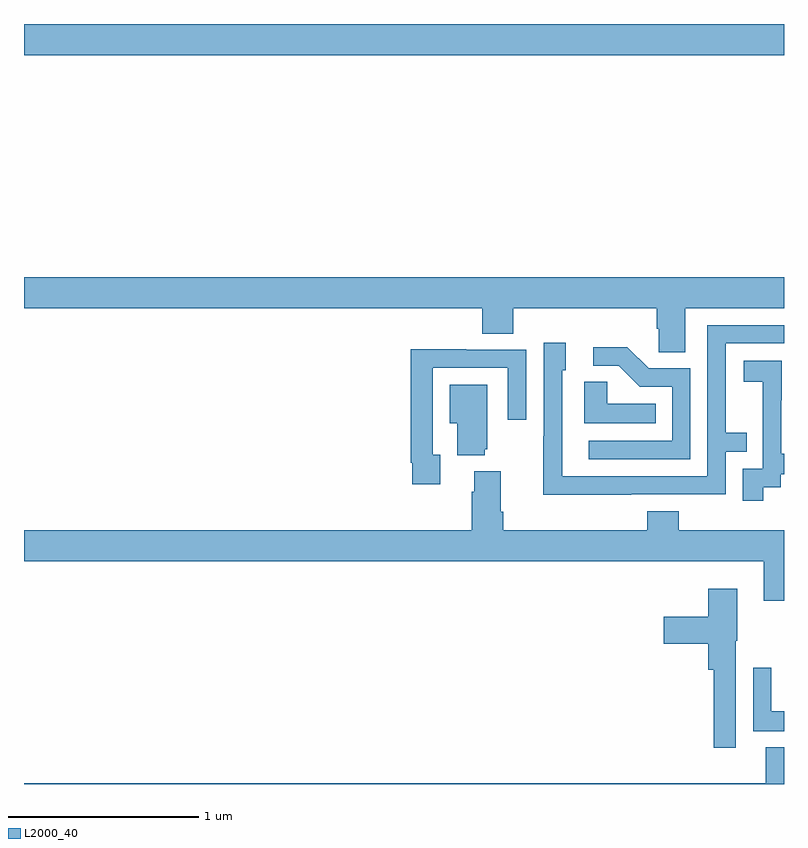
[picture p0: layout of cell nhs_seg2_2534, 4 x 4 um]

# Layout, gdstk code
import gdstk
lib = gdstk.Library(unit=1e-6, precision=1e-09)
def R(c, l, rs):  # rectangles x0, y0, x1, y1
    for r in rs: c.add(gdstk.rectangle(r[:2], r[2:], *l))
def P(c, l, *ps):  # polygons
    for p in ps: c.add(gdstk.Polygon(p, *l))
L2000_40 = (2000, 40)

nhs_seg2_2534 = lib.new_cell('nhs_seg2_2534')
R(nhs_seg2_2534, L2000_40, [(243,647.636,247,647.8)])
P(nhs_seg2_2534, L2000_40, [(246.481,646.304),(247,646.304),(247,646.468),(243,646.468),(243,646.304),(245.411,646.304),(245.411,646.171),(245.576,646.171),(245.576,646.304),(246.329,646.304),(246.329,646.195),(246.342,646.195),(246.342,646.072),(246.481,646.072)],
  [(246.197,645.324),(246.693,645.324),(246.693,645.549),(246.803,645.549),(246.803,645.65),(246.693,645.65),(246.693,646.119),(247,646.119),(247,646.215),(246.597,646.215),(246.597,645.42),(245.832,645.42),(245.832,645.978),(245.851,645.978),(245.851,646.123),(245.736,646.123),(245.736,645.629),(245.734,645.629),(245.734,645.323),(246.197,645.323)],
  [(246.507,645.987),(246.288,645.987),(246.175,646.1),(245.997,646.1),(245.997,646.002),(246.131,646.002),(246.242,645.891),(246.411,645.891),(246.411,645.606),(245.973,645.606),(245.973,645.51),(246.507,645.51)],
  [(245.191,645.534),(245.151,645.534),(245.151,645.99),(245.547,645.99),(245.547,645.717),(245.643,645.717),(245.643,646.086),(245.327,646.086),(245.327,646.088),(245.035,646.088),(245.035,645.49),(245.043,645.49),(245.043,645.378),(245.191,645.378)],
  [(246.892,645.361),(246.984,645.361),(246.984,645.429),(247,645.429),(247,645.538),(246.986,645.538),(246.986,645.821),(246.987,645.821),(246.987,646.027),(246.789,646.027),(246.789,645.917),(246.887,645.917),(246.887,645.689),(246.888,645.689),(246.888,645.459),(246.783,645.459),(246.783,645.291),(246.892,645.291)],
  [(246.326,645.802),(246.069,645.802),(246.069,645.917),(245.948,645.917),(245.948,645.698),(246.326,645.698)],
  [(245.426,645.561),(245.437,645.561),(245.437,645.901),(245.24,645.901),(245.24,645.698),(245.279,645.698),(245.279,645.53),(245.426,645.53)],
  [(247,645.136),(246.446,645.136),(246.446,645.235),(246.281,645.235),(246.281,645.136),(245.522,645.136),(245.522,645.232),(245.509,645.232),(245.509,645.445),(245.369,645.445),(245.369,645.338),(245.357,645.338),(245.357,645.136),(243,645.136),(243,644.972),(246.893,644.972),(246.893,644.764),(247,644.764)],
  [(246.747,644.553),(246.754,644.553),(246.754,644.827),(246.602,644.827),(246.602,644.679),(246.366,644.679),(246.366,644.537),(246.602,644.537),(246.602,644.402),(246.631,644.402),(246.631,643.992),(246.747,643.992)],
  [(247,644.182),(246.933,644.182),(246.933,644.413),(246.837,644.413),(246.837,644.078),(247,644.078)],
  [(247,643.993),(246.905,643.993),(246.905,643.804),(243,643.804),(243,643.8),(247,643.8)])

lib.write_gds('nhs_seg2_2534.gds')
